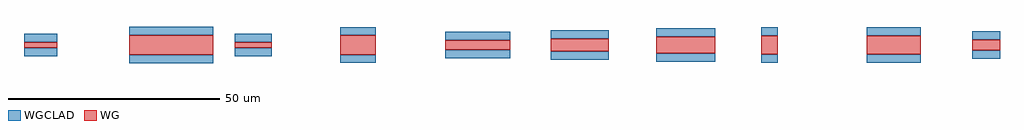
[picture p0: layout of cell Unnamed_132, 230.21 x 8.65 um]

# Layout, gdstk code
import gdstk
lib = gdstk.Library(unit=1e-6, precision=1e-09)
def R(c, l, rs):  # rectangles x0, y0, x1, y1
    for r in rs: c.add(gdstk.rectangle(r[:2], r[2:], *l))
WG = (1, 0)
WGCLAD = (111, 0)

straight_w2498_l6595_lwg = lib.new_cell('straight_W2498_L6595_LWG_EWGSTD')
R(straight_w2498_l6595_lwg, WG, [(0,-1.249,6.595,1.249)])
R(straight_w2498_l6595_lwg, WGCLAD, [(0,-3.249,6.595,-1.249), (0,1.249,6.595,3.249)])

straight_w4368_l12761_lw = lib.new_cell('straight_W4368_L12761_LWG_EWGSTD')
R(straight_w4368_l12761_lw, WG, [(0,-2.184,12.761,2.184)])
R(straight_w4368_l12761_lw, WGCLAD, [(0,-4.184,12.761,-2.184), (0,2.184,12.761,4.184)])

straight_w4314_l3859_lwg = lib.new_cell('straight_W4314_L3859_LWG_EWGSTD')
R(straight_w4314_l3859_lwg, WG, [(0,-2.157,3.859,2.157)])
R(straight_w4314_l3859_lwg, WGCLAD, [(0,-4.157,3.859,-2.157), (0,2.157,3.859,4.157)])

straight_w3918_l13997_lw = lib.new_cell('straight_W3918_L13997_LWG_EWGSTD')
R(straight_w3918_l13997_lw, WG, [(0,-1.959,13.997,1.959)])
R(straight_w3918_l13997_lw, WGCLAD, [(0,-3.959,13.997,-1.959), (0,1.959,13.997,3.959)])

straight_w2842_l13690_lw = lib.new_cell('straight_W2842_L13690_LWG_EWGSTD')
R(straight_w2842_l13690_lw, WG, [(0,-1.421,13.69,1.421)])
R(straight_w2842_l13690_lw, WGCLAD, [(0,-3.421,13.69,-1.421), (0,1.421,13.69,3.421)])

straight_w2286_l15334_lw = lib.new_cell('straight_W2286_L15334_LWG_EWGSTD')
R(straight_w2286_l15334_lw, WG, [(0,-1.143,15.334,1.143)])
R(straight_w2286_l15334_lw, WGCLAD, [(0,-3.143,15.334,-1.143), (0,1.143,15.334,3.143)])

straight_w4482_l8446_lwg = lib.new_cell('straight_W4482_L8446_LWG_EWGSTD')
R(straight_w4482_l8446_lwg, WG, [(0,-2.241,8.446,2.241)])
R(straight_w4482_l8446_lwg, WGCLAD, [(0,-4.241,8.446,-2.241), (0,2.241,8.446,4.241)])

straight_w1312_l8757_lwg = lib.new_cell('straight_W1312_L8757_LWG_EWGSTD')
R(straight_w1312_l8757_lwg, WG, [(0,-0.656,8.757,0.656)])
R(straight_w1312_l8757_lwg, WGCLAD, [(0,-2.656,8.757,-0.656), (0,0.656,8.757,2.656)])

straight_w4654_l19846_lw = lib.new_cell('straight_W4654_L19846_LWG_EWGSTD')
R(straight_w4654_l19846_lw, WG, [(0,-2.327,19.846,2.327)])
R(straight_w4654_l19846_lw, WGCLAD, [(0,-4.327,19.846,-2.327), (0,2.327,19.846,4.327)])

straight_w1264_l7890_lwg = lib.new_cell('straight_W1264_L7890_LWG_EWGSTD')
R(straight_w1264_l7890_lwg, WG, [(0,-0.632,7.89,0.632)])
R(straight_w1264_l7890_lwg, WGCLAD, [(0,-2.632,7.89,-0.632), (0,0.632,7.89,2.632)])

unnamed_132 = lib.new_cell('Unnamed_132')
unnamed_132.add(gdstk.Reference(straight_w2498_l6595_lwg, (236.037,6.827)))
unnamed_132.add(gdstk.Reference(straight_w4368_l12761_lw, (211.191,6.827)))
unnamed_132.add(gdstk.Reference(straight_w4314_l3859_lwg, (186.345,6.827)))
unnamed_132.add(gdstk.Reference(straight_w3918_l13997_lw, (161.499,6.827)))
unnamed_132.add(gdstk.Reference(straight_w2842_l13690_lw, (136.653,6.827)))
unnamed_132.add(gdstk.Reference(straight_w2286_l15334_lw, (111.807,6.827)))
unnamed_132.add(gdstk.Reference(straight_w4482_l8446_lwg, (86.961,6.827)))
unnamed_132.add(gdstk.Reference(straight_w1312_l8757_lwg, (62.115,6.827)))
unnamed_132.add(gdstk.Reference(straight_w4654_l19846_lw, (37.269,6.827)))
unnamed_132.add(gdstk.Reference(straight_w1264_l7890_lwg, (12.423,6.827)))

lib.write_gds('Unnamed_132.gds')
